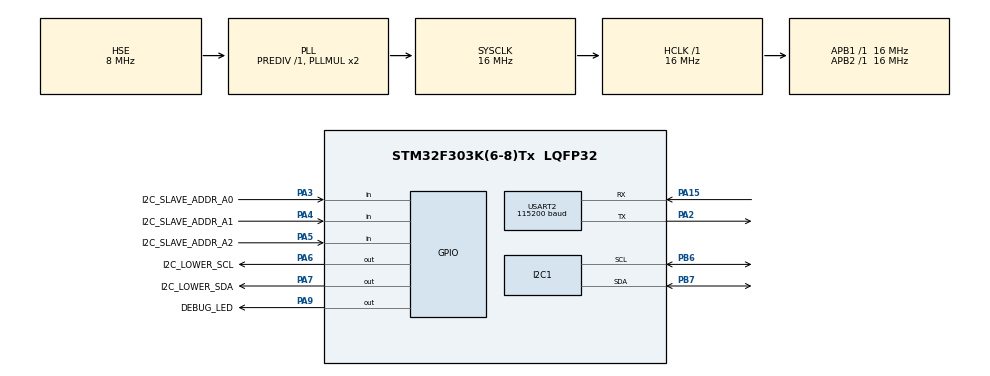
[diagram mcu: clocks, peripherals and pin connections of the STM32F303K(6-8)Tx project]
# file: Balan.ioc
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Dma.Request0=USART2_RX
Dma.USART2_RX.0.Direction=DMA_PERIPH_TO_MEMORY
Dma.USART2_RX.0.Instance=DMA1_Channel6
Dma.USART2_RX.0.MemDataAlignment=DMA_MDATAALIGN_BYTE
Dma.USART2_RX.0.MemInc=DMA_MINC_ENABLE
Dma.USART2_RX.0.Mode=DMA_CIRCULAR
Dma.USART2_RX.0.PeriphDataAlignment=DMA_PDATAALIGN_BYTE
Dma.USART2_RX.0.PeriphInc=DMA_PINC_DISABLE
Dma.USART2_RX.0.Priority=DMA_PRIORITY_LOW
I2C1.NoStretchMode=I2C_NOSTRETCH_ENABLE
I2C1.Timing=0x00303D5B
Mcu.Family=STM32F3
Mcu.Name=STM32F303K(6-8)Tx
Mcu.Package=LQFP32
NVIC.DMA1_Channel6_IRQn=true\:0\:0\:false\:false\:true\:false\:true
NVIC.PriorityGroup=NVIC_PRIORITYGROUP_4
PA13.Mode=Trace_Asynchronous_SW
PA13.Signal=SYS_JTMS-SWDIO
PA14.Mode=Trace_Asynchronous_SW
PA14.Signal=SYS_JTCK-SWCLK
PA15.Mode=Asynchronous
PA15.Signal=USART2_RX
PA2.Mode=Asynchronous
PA2.Signal=USART2_TX
PA3.GPIO_Label=I2C_SLAVE_ADDR_A0
PA3.GPIO_Mode=GPIO_MODE_INPUT
PA3.GPIO_PuPd=GPIO_PULLUP
PA3.Signal=GPIO_Input
PA4.GPIO_Label=I2C_SLAVE_ADDR_A1
PA4.GPIO_Mode=GPIO_MODE_INPUT
PA4.GPIO_PuPd=GPIO_PULLUP
PA4.Signal=GPIO_Input
PA5.GPIO_Label=I2C_SLAVE_ADDR_A2
PA5.GPIO_Mode=GPIO_MODE_INPUT
PA5.GPIO_PuPd=GPIO_PULLUP
PA5.Signal=GPIO_Input
PA6.GPIO_Label=I2C_LOWER_SCL
PA6.GPIO_ModeDefaultOutputPP=GPIO_MODE_OUTPUT_OD
PA6.GPIO_PuPd=GPIO_NOPULL
PA6.GPIO_Speed=GPIO_SPEED_FREQ_HIGH
PA6.PinState=GPIO_PIN_SET
PA6.Signal=GPIO_Output
PA7.GPIO_Label=I2C_LOWER_SDA
PA7.GPIO_ModeDefaultOutputPP=GPIO_MODE_OUTPUT_OD
PA7.GPIO_PuPd=GPIO_NOPULL
PA7.GPIO_Speed=GPIO_SPEED_FREQ_HIGH
PA7.PinState=GPIO_PIN_SET
PA7.Signal=GPIO_Output
PA9.GPIO_Label=DEBUG_LED
PA9.GPIO_ModeDefaultOutputPP=GPIO_MODE_OUTPUT_PP
PA9.GPIO_PuPd=GPIO_NOPULL
PA9.GPIO_Speed=GPIO_SPEED_FREQ_HIGH
PA9.PinState=GPIO_PIN_RESET
PA9.Signal=GPIO_Output
PB3.Mode=Trace_Asynchronous_SW
PB3.Signal=SYS_JTDO-TRACESWO
PB6.Mode=I2C
PB6.Signal=I2C1_SCL
PB7.Mode=I2C
PB7.Signal=I2C1_SDA
PF0\ /\ OSC_IN.Mode=HSE-External-Oscillator
PF0\ /\ OSC_IN.Signal=RCC_OSC_IN
PF1\ /\ OSC_OUT.Mode=HSE-External-Oscillator
PF1\ /\ OSC_OUT.Signal=RCC_OSC_OUT
ProjectManager.HeapSize=0x200
ProjectManager.StackSize=0x400
ProjectManager.TargetToolchain=STM32CubeIDE
RCC.AHBFreq_Value=16000000
RCC.APB1Freq_Value=16000000
RCC.APB1TimFreq_Value=16000000
RCC.APB2Freq_Value=16000000
RCC.APB2TimFreq_Value=16000000
RCC.CortexFreq_Value=16000000
RCC.HCLKFreq_Value=16000000
RCC.HSE_VALUE=8000000
RCC.HSI_VALUE=8000000
RCC.I2c1ClockSelection=RCC_I2C1CLKSOURCE_SYSCLK
RCC.PLLSourceVirtual=RCC_PLLSOURCE_HSE
RCC.SYSCLKFreq_VALUE=16000000
RCC.SYSCLKSourceVirtual=RCC_SYSCLKSOURCE_PLLCLK
USART2.BaudRate=115200
USART2.VirtualMode-Asynchronous=VM_ASYNC
board=custom

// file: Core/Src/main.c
/* USER CODE BEGIN Header */
/**
  ******************************************************************************
  * @file           : main.c
  * @brief          : Main program body
  ******************************************************************************
  * @attention
  *
  * <h2><center>&copy; Copyright (c) 2020 STMicroelectronics.
  * All rights reserved.</center></h2>
  *
  * This software component is licensed by ST under BSD 3-Clause license,
  * the "License"; You may not use this file except in compliance with the
  * License. You may obtain a copy of the License at:
  *                        opensource.org/licenses/BSD-3-Clause
  *
  ******************************************************************************
  */
/* USER CODE END Header */

#include "main.h"

/* USER CODE BEGIN Includes */
#include <stdio.h>
#include <stdint.h>
#include "stm32f3xx_hal_uart.h"
#include <stdbool.h>
/* USER CODE END Includes */

I2C_HandleTypeDef hi2c1;

UART_HandleTypeDef huart2;
DMA_HandleTypeDef hdma_usart2_rx;

/* USER CODE BEGIN PV */
#ifdef __GNUC__
#define PUTCHAR_PROTOTYPE int __io_putchar(int ch)
#else
#define PUTCHAR_PROTOTYPE int fputc(int ch, FILE *f)
#endif /* __GNUC__ */

PUTCHAR_PROTOTYPE
{
	HAL_UART_Transmit(&huart2, &ch, 1, 0xFFFF);
	return ch;
}
/* USER CODE END PV */

void SystemClock_Config(void);
static void MX_GPIO_Init(void);
static void MX_DMA_Init(void);
static void MX_I2C1_Init(void);
static void MX_USART2_UART_Init(void);

/* USER CODE BEGIN 0 */
#define CIRC_BUF_SZ       64  /* must be power of two */
static uint8_t rx_dma_circ_buf[CIRC_BUF_SZ];
static UART_HandleTypeDef *huart_cobs;
static uint32_t rd_ptr;

#define DMA_WRITE_PTR ( (CIRC_BUF_SZ - huart_cobs->hdmarx->Instance->CNDTR) & (CIRC_BUF_SZ - 1) )

void msgrx_init(UART_HandleTypeDef *huart)
{
    huart_cobs = huart;
    HAL_UART_Receive_DMA(huart_cobs, rx_dma_circ_buf, CIRC_BUF_SZ);
    rd_ptr = 0;
}

static bool msgrx_circ_buf_is_empty(void)
{
    if (rd_ptr == DMA_WRITE_PTR) {
        return true;
    }
    return false;
}

static uint8_t msgrx_circ_buf_length(void)
{
	return ((DMA_WRITE_PTR - rd_ptr + CIRC_BUF_SZ) & (CIRC_BUF_SZ - 1));
}

static uint8_t msgrx_circ_buf_get(void)
{
    uint8_t c = 0;
    if(rd_ptr != DMA_WRITE_PTR) {
        c = rx_dma_circ_buf[rd_ptr++];
        rd_ptr &= (CIRC_BUF_SZ - 1);
    }
    return c;
}

/* USER CODE END 0 */

int main(void)
{

  /* MCU Configuration--------------------------------------------------------*/

  /* Reset of all peripherals, Initializes the Flash interface and the Systick. */
  HAL_Init();

  /* Configure the system clock */
  SystemClock_Config();

  /* Initialize all configured peripherals */
  MX_GPIO_Init();
  MX_DMA_Init();
  MX_I2C1_Init();
  MX_USART2_UART_Init();
  /* USER CODE BEGIN 2 */
  msgrx_init(&huart2);
  /* USER CODE END 2 */

  /* Infinite loop */
  /* USER CODE BEGIN WHILE */
  while (1)
  {
	//printf("Hello World!\n");
	HAL_GPIO_TogglePin(DEBUG_LED_GPIO_Port, DEBUG_LED_Pin);
	HAL_Delay(1000);
    /* USER CODE END WHILE */

    /* USER CODE BEGIN 3 */
	printf("%d", msgrx_circ_buf_length());
	while (!msgrx_circ_buf_is_empty()) {
	  uint8_t ch = msgrx_circ_buf_get();
	  printf("%c", ch);
	}
	printf("\n");
  }
  /* USER CODE END 3 */
}

void SystemClock_Config(void)
{
  RCC_OscInitTypeDef RCC_OscInitStruct = {0};
  RCC_ClkInitTypeDef RCC_ClkInitStruct = {0};
  RCC_PeriphCLKInitTypeDef PeriphClkInit = {0};

  /** Initializes the CPU, AHB and APB busses clocks
  */
  RCC_OscInitStruct.OscillatorType = RCC_OSCILLATORTYPE_HSE;
  RCC_OscInitStruct.HSEState = RCC_HSE_ON;
  RCC_OscInitStruct.HSEPredivValue = RCC_HSE_PREDIV_DIV1;
  RCC_OscInitStruct.HSIState = RCC_HSI_ON;
  RCC_OscInitStruct.PLL.PLLState = RCC_PLL_ON;
  RCC_OscInitStruct.PLL.PLLSource = RCC_PLLSOURCE_HSE;
  RCC_OscInitStruct.PLL.PLLMUL = RCC_PLL_MUL2;
  if (HAL_RCC_OscConfig(&RCC_OscInitStruct) != HAL_OK)
  {
    Error_Handler();
  }
  /** Initializes the CPU, AHB and APB busses clocks
  */
  RCC_ClkInitStruct.ClockType = RCC_CLOCKTYPE_HCLK|RCC_CLOCKTYPE_SYSCLK
                              |RCC_CLOCKTYPE_PCLK1|RCC_CLOCKTYPE_PCLK2;
  RCC_ClkInitStruct.SYSCLKSource = RCC_SYSCLKSOURCE_PLLCLK;
  RCC_ClkInitStruct.AHBCLKDivider = RCC_SYSCLK_DIV1;
  RCC_ClkInitStruct.APB1CLKDivider = RCC_HCLK_DIV1;
  RCC_ClkInitStruct.APB2CLKDivider = RCC_HCLK_DIV1;

  if (HAL_RCC_ClockConfig(&RCC_ClkInitStruct, FLASH_LATENCY_0) != HAL_OK)
  {
    Error_Handler();
  }
  PeriphClkInit.PeriphClockSelection = RCC_PERIPHCLK_I2C1;
  PeriphClkInit.I2c1ClockSelection = RCC_I2C1CLKSOURCE_SYSCLK;
  if (HAL_RCCEx_PeriphCLKConfig(&PeriphClkInit) != HAL_OK)
  {
    Error_Handler();
  }
}

static void MX_I2C1_Init(void)
{

  hi2c1.Instance = I2C1;
  hi2c1.Init.Timing = 0x00303D5B;
  hi2c1.Init.OwnAddress1 = 0;
  hi2c1.Init.AddressingMode = I2C_ADDRESSINGMODE_7BIT;
  hi2c1.Init.DualAddressMode = I2C_DUALADDRESS_DISABLE;
  hi2c1.Init.OwnAddress2 = 0;
  hi2c1.Init.OwnAddress2Masks = I2C_OA2_NOMASK;
  hi2c1.Init.GeneralCallMode = I2C_GENERALCALL_DISABLE;
  hi2c1.Init.NoStretchMode = I2C_NOSTRETCH_ENABLE;
  if (HAL_I2C_Init(&hi2c1) != HAL_OK)
  {
    Error_Handler();
  }
  /** Configure Analogue filter
  */
  if (HAL_I2CEx_ConfigAnalogFilter(&hi2c1, I2C_ANALOGFILTER_ENABLE) != HAL_OK)
  {
    Error_Handler();
  }
  /** Configure Digital filter
  */
  if (HAL_I2CEx_ConfigDigitalFilter(&hi2c1, 0) != HAL_OK)
  {
    Error_Handler();
  }

}

static void MX_USART2_UART_Init(void)
{

  huart2.Instance = USART2;
  huart2.Init.BaudRate = 115200;
  huart2.Init.WordLength = UART_WORDLENGTH_8B;
  huart2.Init.StopBits = UART_STOPBITS_1;
  huart2.Init.Parity = UART_PARITY_NONE;
  huart2.Init.Mode = UART_MODE_TX_RX;
  huart2.Init.HwFlowCtl = UART_HWCONTROL_NONE;
  huart2.Init.OverSampling = UART_OVERSAMPLING_16;
  huart2.Init.OneBitSampling = UART_ONE_BIT_SAMPLE_DISABLE;
  huart2.AdvancedInit.AdvFeatureInit = UART_ADVFEATURE_NO_INIT;
  if (HAL_UART_Init(&huart2) != HAL_OK)
  {
    Error_Handler();
  }

}

static void MX_DMA_Init(void)
{

  /* DMA controller clock enable */
  __HAL_RCC_DMA1_CLK_ENABLE();

  /* DMA interrupt init */
  /* DMA1_Channel6_IRQn interrupt configuration */
  HAL_NVIC_SetPriority(DMA1_Channel6_IRQn, 0, 0);
  HAL_NVIC_EnableIRQ(DMA1_Channel6_IRQn);

}

static void MX_GPIO_Init(void)
{
  GPIO_InitTypeDef GPIO_InitStruct = {0};

  /* GPIO Ports Clock Enable */
  __HAL_RCC_GPIOF_CLK_ENABLE();
  __HAL_RCC_GPIOA_CLK_ENABLE();
  __HAL_RCC_GPIOB_CLK_ENABLE();

  /*Configure GPIO pin Output Level */
  HAL_GPIO_WritePin(GPIOA, I2C_LOWER_SCL_Pin|I2C_LOWER_SDA_Pin, GPIO_PIN_SET);

  /*Configure GPIO pin Output Level */
  HAL_GPIO_WritePin(DEBUG_LED_GPIO_Port, DEBUG_LED_Pin, GPIO_PIN_RESET);

  /*Configure GPIO pins : I2C_SLAVE_ADDR_A0_Pin I2C_SLAVE_ADDR_A1_Pin I2C_SLAVE_ADDR_A2_Pin */
  GPIO_InitStruct.Pin = I2C_SLAVE_ADDR_A0_Pin|I2C_SLAVE_ADDR_A1_Pin|I2C_SLAVE_ADDR_A2_Pin;
  GPIO_InitStruct.Mode = GPIO_MODE_INPUT;
  GPIO_InitStruct.Pull = GPIO_PULLUP;
  HAL_GPIO_Init(GPIOA, &GPIO_InitStruct);

  /*Configure GPIO pins : I2C_LOWER_SCL_Pin I2C_LOWER_SDA_Pin */
  GPIO_InitStruct.Pin = I2C_LOWER_SCL_Pin|I2C_LOWER_SDA_Pin;
  GPIO_InitStruct.Mode = GPIO_MODE_OUTPUT_OD;
  GPIO_InitStruct.Pull = GPIO_NOPULL;
  GPIO_InitStruct.Speed = GPIO_SPEED_FREQ_HIGH;
  HAL_GPIO_Init(GPIOA, &GPIO_InitStruct);

  /*Configure GPIO pin : DEBUG_LED_Pin */
  GPIO_InitStruct.Pin = DEBUG_LED_Pin;
  GPIO_InitStruct.Mode = GPIO_MODE_OUTPUT_PP;
  GPIO_InitStruct.Pull = GPIO_NOPULL;
  GPIO_InitStruct.Speed = GPIO_SPEED_FREQ_HIGH;
  HAL_GPIO_Init(DEBUG_LED_GPIO_Port, &GPIO_InitStruct);

}

void Error_Handler(void)
{
}

/************************ (C) COPYRIGHT STMicroelectronics *****END OF FILE****/
